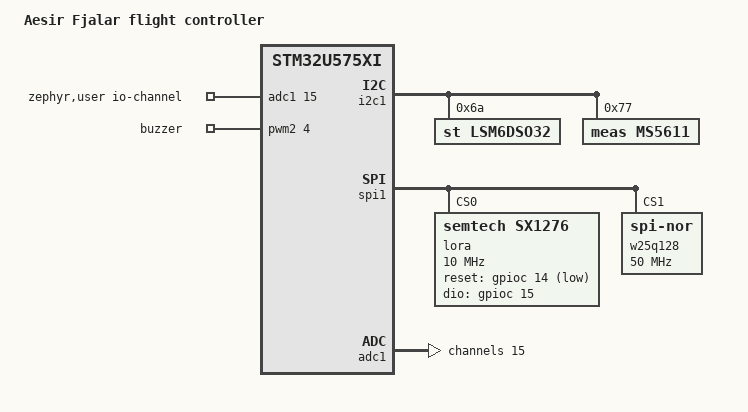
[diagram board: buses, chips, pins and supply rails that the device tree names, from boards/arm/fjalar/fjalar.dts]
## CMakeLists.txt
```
cmake_minimum_required(VERSION 3.20.0)

set(BOARD_ROOT ${CMAKE_CURRENT_LIST_DIR})


if(TEST_BUILD)
    set(EXTRA_CONF_FILE ${CMAKE_CURRENT_LIST_DIR}/testing/preferences.conf)
else()
    set(EXTRA_CONF_FILE ${CMAKE_CURRENT_LIST_DIR}/preferences.conf)
endif()

list(APPEND EXTRA_ZEPHYR_MODULES
    ${CMAKE_CURRENT_SOURCE_DIR}/modules/dummysensor
    ${CMAKE_CURRENT_SOURCE_DIR}/modules/ms5611
)

find_package(Zephyr REQUIRED HINTS $ENV{ZEPHYR_BASE})

project(fjalar)

add_subdirectory(../common ../build/common)

add_subdirectory(lib)

# main
target_sources(app PRIVATE
    src/flight_state.c
    src/sensors.c
    src/communication.c
    src/commands.c
    src/actuation.c
    src/filter.c
    src/hello.cpp
)

if(TEST_BUILD)
    message(STATUS "Building test")
    target_sources(app PRIVATE
        testing/test_main.c
    )
else()
    message(STATUS "Building app")
    target_sources(app PRIVATE
        src/main.c
    )
endif()


target_link_libraries(app PRIVATE protocol)
target_link_libraries(app PRIVATE minmea)
```

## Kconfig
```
menu "Zephyr"
source "Kconfig.zephyr"
endmenu

rsource "../common/Kconfig"


config BUZZER_ENABLED
    bool "Enable buzzer"
    default y
config DELAYED_START
    bool "delay start"
    default n

choice
	prompt "Boot state"
	config BOOT_STATE_IDLE
		bool "boot to idle"
	config BOOT_STATE_LAUNCHPAD
		bool "boot to launchpad"
endchoice

config APP_ACTUATION_LOG_LEVEL
    int "Application log level"
    default 2
    depends on LOG

config APP_FILTER_LOG_LEVEL
    int "Application filter log level"
    default 2
    depends on LOG

config APP_FLIGHT_LOG_LEVEL
    int "Application flight state log level"
    default 2
    depends on LOG

config APP_MAIN_LOG_LEVEL
    int "Application filter log level"
    default 2
    depends on LOG
config APP_SENSORS_LOG_LEVEL
    int "Application filter log level"
    default 2
    depends on LOG
config APP_COMMANDS_LOG_LEVEL
    int "Application filter log level"
    default 2
    depends on LOG
config APP_COMMUNICATION_LOG_LEVEL
    int "Application filter log level"
    default 2
    depends on LOG


# config USB_CDC_ACM_LOG_LEVEL
#     int
#     default 0 if USB_CDC_ACM_LOG_LEVEL_OFF
#     default 1 if USB_CDC_ACM_LOG_LEVEL_ERR
#     default 2 if USB_CDC_ACM_LOG_LEVEL_WRN
#     default 3 if USB_CDC_ACM_LOG_LEVEL_INF
#     default 4 if USB_CDC_ACM_LOG_LEVEL_DBG
#     depends on LOG
```

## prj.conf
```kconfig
# CONFIG_THREAD_ANALYZER=y
# CONFIG_THREAD_ANALYZER_USE_PRINTK=y
# CONFIG_THREAD_NAME=y
# CONFIG_THREAD_ANALYZER_AUTO=y
# CONFIG_THREAD_ANALYZER_AUTO_INTERVAL=5

CONFIG_LOG=y
CONFIG_LOG_MODE_DEFERRED=y
CONFIG_LOG_BUFFER_SIZE=4096

CONFIG_ZSL=y
CONFIG_ZSL_SINGLE_PRECISION=y
CONFIG_ZSL_VECTOR_INLINE=y
CONFIG_ZSL_MATRIX_INLINE=y

CONFIG_DEBUG=y
CONFIG_DEBUG_OPTIMIZATIONS=y

CONFIG_ISR_STACK_SIZE=4096

CONFIG_ZBUS=y
CONFIG_ZBUS_MSG_SUBSCRIBER=y

# I do not like heaps but idk
CONFIG_ZBUS_MSG_SUBSCRIBER_BUF_ALLOC_STATIC=y
CONFIG_ZBUS_MSG_SUBSCRIBER_NET_BUF_POOL_SIZE=32
CONFIG_ZBUS_MSG_SUBSCRIBER_NET_BUF_STATIC_DATA_SIZE=128

CONFIG_CRC=y

CONFIG_CPP=y

CONFIG_REQUIRES_FULL_LIBCPP=y

CONFIG_COMPILER_OPT="-Wno-double-promotion"
```

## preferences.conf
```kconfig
CONFIG_BUZZER_ENABLED=n

CONFIG_PROTOCOL_LOG_LEVEL=3
CONFIG_MINMEA_LOG_LEVEL=3
CONFIG_APP_ACTUATION_LOG_LEVEL=3
CONFIG_APP_FILTER_LOG_LEVEL=1
CONFIG_APP_FLIGHT_LOG_LEVEL=3
CONFIG_APP_MAIN_LOG_LEVEL=3
CONFIG_APP_SENSORS_LOG_LEVEL=3
CONFIG_APP_COMMUNICATION_LOG_LEVEL=3
CONFIG_APP_COMMANDS_LOG_LEVEL=3

CONFIG_DUMMYSENSOR_SKYWARD=y
# CONFIG_DUMMYSENSOR_PICCARD=y
# CONFIG_DUMMYSENSOR_ICLR=y
```

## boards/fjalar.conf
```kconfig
CONFIG_LOG=y
CONFIG_CBPRINTF_FP_SUPPORT=y

CONFIG_FPU=y
CONFIG_FPU_SHARING=y

CONFIG_SERIAL=y
# CONFIG_UART_INTERRUPT_DRIVEN=y
CONFIG_UART_WIDE_DATA=y
CONFIG_CONSOLE=y
CONFIG_UART_CONSOLE=y
CONFIG_POLL=y

CONFIG_I2C=y

CONFIG_GPIO=y

CONFIG_ADC=y

CONFIG_SENSOR=y
CONFIG_MS5611=y
# CONFIG_MS5607=y
# CONFIG_MS5607_PRES_OVER_2048X=y
# CONFIG_MS5607_TEMP_OVER_2048X=y

CONFIG_LSM6DSO=y

CONFIG_SPI=y
CONFIG_FLASH=y

CONFIG_PWM=y
CONFIG_LED=y

CONFIG_LORA=y
CONFIG_LORA_SX127X=y
CONFIG_LORA_LOG_LEVEL_DBG=y

CONFIG_NEWLIB_LIBC=y # for trigonometric functions

CONFIG_BOOT_STATE_IDLE=y
CONFIG_DELAYED_START=y

CONFIG_SENSOR=y

CONFIG_USB_DEVICE_STACK=y
CONFIG_USB_DEVICE_PRODUCT="Fjalar Log"
CONFIG_USB_DEVICE_PID=0x0004
CONFIG_USB_DEVICE_INITIALIZE_AT_BOOT=y
```

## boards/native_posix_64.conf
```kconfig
CONFIG_LOG=y
CONFIG_CBPRINTF_FP_SUPPORT=y

CONFIG_SERIAL=y
CONFIG_CONSOLE=y
CONFIG_UART_CONSOLE=y

CONFIG_I2C=y

CONFIG_SENSOR=y

CONFIG_SPI=y
# CONFIG_FLASH=y

CONFIG_DUMMYSENSOR=y
CONFIG_DUMMYSENSOR_SKYWARD=y
# CONFIG_DUMMYSENSOR_PICCARD=y
# CONFIG_DUMMYSENSOR_ICLR=y

# CONFIG_PWM=y

CONFIG_UART_NATIVE_POSIX=y
CONFIG_UART_NATIVE_POSIX_PORT_1_ENABLE=y
# CONFIG_NATIVE_UART_1_ON_OWN_PTY=y

# CONFIG_NATIVE_UART_0_ON_OWN_PTY=y
CONFIG_NATIVE_UART_0_ON_STDINOUT=y
CONFIG_SYS_CLOCK_TICKS_PER_SEC=1000

CONFIG_DEBUG=y
CONFIG_DEBUG_OPTIMIZATIONS=y

CONFIG_BOOT_STATE_LAUNCHPAD=y
# CONFIG_FUSE_FS_ACCESS=y

CONFIG_DELAYED_START=n
```

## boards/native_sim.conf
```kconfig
CONFIG_LOG=y
CONFIG_CBPRINTF_FP_SUPPORT=y

CONFIG_SERIAL=y
CONFIG_CONSOLE=y
CONFIG_UART_CONSOLE=y
CONFIG_POLL=y

CONFIG_GPIO=y

CONFIG_I2C=y

CONFIG_SENSOR=y

CONFIG_SPI=y
CONFIG_FLASH=y

CONFIG_DUMMYSENSOR=y

# CONFIG_PWM=y

CONFIG_UART_NATIVE_POSIX=y
CONFIG_UART_NATIVE_POSIX_PORT_1_ENABLE=y
# CONFIG_NATIVE_UART_1_ON_OWN_PTY=y

# CONFIG_NATIVE_UART_0_ON_OWN_PTY=y
# CONFIG_NATIVE_UART_0_ON_STDINOUT=y
CONFIG_SYS_CLOCK_TICKS_PER_SEC=1000

CONFIG_DEBUG=y
CONFIG_DEBUG_OPTIMIZATIONS=y

CONFIG_BOOT_STATE_LAUNCHPAD=y
# CONFIG_FUSE_FS_ACCESS=y

CONFIG_DELAYED_START=n

CONFIG_USB_DEVICE_STACK=y
CONFIG_USB_DEVICE_PRODUCT="Fjalar Log"
CONFIG_USB_DEVICE_PID=0x0004

CONFIG_FLASH_SIMULATOR=y

CONFIG_ASAN=y
CONFIG_UBSAN=y
```

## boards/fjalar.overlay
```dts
/ {
    chosen {
        // zephyr,console = &cdc_acm_uart0;
        // zephyr,shell = &cdc_acm_uart0;
    };

    aliases {
		io-led = &ioled;
        imu = &lsm6dso32;
        barometer = &ms5611;
		main-usb = &usbotg_fs;
		pyro1 = &pyro1;
		pyro2 = &pyro2;
		pyro3 = &pyro3;
		pyro1-sense = &pyro1_sense;
		pyro2-sense = &pyro2_sense;
		pyro3-sense = &pyro3_sense;
        // data-usb = &cdc_acm_uart1;
    };

    dummysensor: dummysensor {
        compatible = "aesir,dummysensor";
        status = "okay";
    };
};


&lsm6dso32 {
    gyro-odr = <4>; //104Hz
    accel-odr = <4>; //104Hz
    accel-range = <1>; //16g
    gyro-range = <6>; //2000dps
    accel-pm = <0>; //high performance
    gyro-pm = <0>; //high performance
};


// &usbotg_fs {
//     cdc_acm_uart0: cdc_acm_uart0 {
//         compatible = "zephyr,cdc-acm-uart";
//     };
//     cdc_acm_uart1: cdc_acm_uart1 {
//         compatible = "zephyr,cdc-acm-uart";
//     };
// };
```

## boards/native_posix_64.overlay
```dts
/ {
    chosen {
        // zephyr,console = &uart0;
		// zephyr,shell-uart = &uart0;
    };
    aliases {
        imu = &dummysensor;
        barometer = &dummysensor;
        external-uart = &uart1;
        io-led = &ioled;
        main-usb = &zephyr_udc0;
        pyro1 = &pyro1;
        pyro2 = &pyro2;
        pyro3 = &pyro3;
        pyro1-sense = &pyro1_sense;
        pyro2-sense = &pyro2_sense;
        pyro3-sense = &pyro3_sense;
    };

    dummysensor: dummysensor {
        compatible = "aesir,dummysensor";
        status = "okay";
    };

    leds {
		compatible = "gpio-leds";
		ioled: io_led {
			gpios = <&gpio0 6 GPIO_ACTIVE_HIGH>;
		};
	};

    pyros {
        compatible = "gpio-leds";
        pyro1: pyro_1 {
            gpios = <&gpio0 13 GPIO_ACTIVE_HIGH>;
        };
        pyro2: pyro_2 {
            gpios = <&gpio0 12 GPIO_ACTIVE_HIGH>;
        };
        pyro3: pyro_3 {
            gpios = <&gpio0 2 GPIO_ACTIVE_HIGH>;
        };
    };

	pyro_sense {
		compatible = "gpio-keys";
		pyro1_sense: pyro1_sense {
			gpios = <&gpio0 8 GPIO_ACTIVE_LOW>;
		};
		pyro2_sense: pyro2_sense {
			gpios = <&gpio0 15 GPIO_ACTIVE_LOW>;
		};
		pyro3_sense: pyro3_sense {
			gpios = <&gpio0 2 GPIO_ACTIVE_LOW>;
		};
	};
};
```

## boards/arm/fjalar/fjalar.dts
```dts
/dts-v1/;

#include <st/u5/stm32u575Xi.dtsi>
#include <st/u5/stm32u575zitxq-pinctrl.dtsi>
#include "fjalar.dtsi"

/ {

    model = "Aesir Fjalar flight controller";
	compatible = "aesir,fjalar";

	#address-cells = <1>;
	#size-cells = <1>;

	chosen {
		zephyr,console = &uart4;
		zephyr,shell-uart = &uart4;
		zephyr,sram = &sram0;
		zephyr,flash = &flash0;
		zephyr,canbus = &can1;
	};

    aliases {
		led0 = &ioled;
		external-uart = &uart4;
		data-flash = &w25q128;
		gps-uart = &usart1;
		buzzer = &buzzer;
		lora = &lora;

	};

	zephyr,user {
		battery-denominator = <2200>;
		battery-numerator = <12200>;
		io-channels = <&adc1 15>;
	};

	pwmleds: pwmleds {
		compatible = "pwm-leds";
		status = "okay";

		buzzer: buzzer {
			pwms = <&pwm2 4 PWM_MSEC(20) PWM_POLARITY_NORMAL>;
		};
	};
};

&i2c1 {
	lsm6dso32: lsm6dso32@6a {
		status = "okay";
		compatible = "st,lsm6dso32", "st,lsm6dso";
		reg = <0x6a>;
	};

	ms5611: ms5611@77 {
		status = "okay";
		compatible = "meas,ms5611";
		reg = <0x77>;
	};
};

&spi1 {
	lora: lora@0 {
		compatible ="semtech,sx1276";
		reg = <0>;
		spi-max-frequency = <10000000>;
		status = "okay";
		reset-gpios = <&gpioc 14 GPIO_ACTIVE_LOW>;
		dio-gpios = <&gpioc 15 GPIO_ACTIVE_HIGH>;
		power-amplifier-output = "pa-boost";
	};

	w25q128: w25q128@1 {
		compatible ="jedec,spi-nor";
		size = <0x8000000>;
		reg = <1>;
		spi-max-frequency = <50000000>;
		status = "okay";
		jedec-id = [ef 70 18];
	};
};

&adc1 {
	#address-cells = <1>;
	#size-cells = <0>;
	status = "okay";

	channel@F {
		reg = <15>; //15
		zephyr,gain = "ADC_GAIN_1";
		zephyr,reference = "ADC_REF_INTERNAL";
		zephyr,acquisition-time = <ADC_ACQ_TIME_DEFAULT>;
		zephyr,resolution = <14>;
		zephyr,oversampling = <4>;
		status = "okay";
	};
};
```

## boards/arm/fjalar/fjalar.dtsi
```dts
#include <st/u5/stm32u575Xi.dtsi>
#include <st/u5/stm32u575zitxq-pinctrl.dtsi>

/ {
	leds {
		compatible = "gpio-leds";
		ioled: io_led {
			gpios = <&gpioa 6 GPIO_ACTIVE_HIGH>;
		};
	};

    pyros {
        compatible = "gpio-leds";
        pyro1: pyro_1 {
            gpios = <&gpiob 2 GPIO_ACTIVE_HIGH>;
        };
        pyro2: pyro_2 {
            gpios = <&gpiob 12 GPIO_ACTIVE_HIGH>;
        };
        pyro3: pyro_3 {
            gpios = <&gpiob 13 GPIO_ACTIVE_HIGH>;
        };
    };

	pyro_sense {
		compatible = "gpio-keys";
		pyro1_sense: pyro1_sense {
			gpios = <&gpioa 2 GPIO_ACTIVE_LOW>;
		};
		pyro2_sense: pyro2_sense {
			gpios = <&gpiob 15 GPIO_ACTIVE_LOW>;
		};
		pyro3_sense: pyro3_sense {
			gpios = <&gpioa 8 GPIO_ACTIVE_LOW>;
		};
	};
};

&usbotg_fs {
	pinctrl-0 = <&usb_otg_fs_dm_pa11 &usb_otg_fs_dp_pa12>;
	pinctrl-names = "default";
	status = "okay";
};

&usart1 {
	pinctrl-0 = <&usart1_tx_pa9 &usart1_rx_pa10>;
	pinctrl-names = "default";
	current-speed = <9600>;
	status = "okay";
	gnss: gnss-nmea-generic {
			compatible = "gnss-nmea-generic";
	};
	gnss_pps: gnss-pss {
		compatible = "gnss-pps";
	};
};

&gpdma1 {
	status = "okay";
};

// &clk_hsi48 {
// 	status = "okay";
// };

// &clk_hse {
// 	status = "okay";
// 	clock-frequency = <DT_FREQ_M(48)>;
// };

// &clk_msis {
// 	status = "okay";
// 	msi-range = <4>;
// 	msi-pll-mode;
// };

&pll1 {
	div-m = <3>;
	mul-n = <10>;
	div-q = <2>;
	div-r = <1>;
	clocks = <&clk_hse>;
	status = "okay";
};

&rcc {
	clocks = <&pll1>;
	clock-frequency = <DT_FREQ_M(160)>;
	ahb-prescaler = <1>;
	apb1-prescaler = <1>;
	apb2-prescaler = <1>;
	apb3-prescaler = <1>;
};

&clk_hsi48 {
	status = "okay";
};

&clk_lse {
	status = "okay";
};

&clk_msis {
	status = "okay";
	msi-range = <4>;
	msi-pll-mode;
};

// &pll1 {
// 	div-m = <1>;
// 	mul-n = <80>;
// 	div-q = <2>;
// 	div-r = <2>;
// 	clocks = <&clk_msis>;
// 	status = "okay";
// };

// &rcc {
// 	clocks = <&pll1>;
// 	clock-frequency = <DT_FREQ_M(160)>;
// 	ahb-prescaler = <1>;
// 	apb1-prescaler = <1>;
// 	apb2-prescaler = <1>;
// 	apb3-prescaler = <1>;
// };

&uart4 {
    pinctrl-0 = <&uart4_tx_pa0 &uart4_rx_pa1>;
	pinctrl-names = "default";
	current-speed = <115200>;
	status = "okay";
};

&i2c1 {
	pinctrl-0 = <&i2c1_scl_pb6 &i2c1_sda_pb7>;
	pinctrl-names = "default";
	status = "okay";
	clock-frequency = <I2C_BITRATE_FAST>;
};

&i2c2 {
	pinctrl-0 = <&i2c2_scl_pb10 &i2c2_sda_pb14>;
	pinctrl-names = "default";
	status = "okay";
	clock-frequency = <I2C_BITRATE_FAST>;
};

&spi1 {
	pinctrl-0 = <&spi1_sck_pb3
			&spi1_miso_pb4 &spi1_mosi_pb5>;
	pinctrl-names = "default";
	cs-gpios = <&gpioc 13 GPIO_ACTIVE_LOW>, <&gpioa 15 GPIO_ACTIVE_LOW>;
	clock-frequency = <50000000>;
	status = "okay";
};

&adc1 {
	pinctrl-0 = <&adc1_in15_pb0>;
	pinctrl-names = "default";
};

&timers2 {
	st,prescaler = <1000>;
	status = "okay";

	pwm2: pwm {
		status = "okay";
		pinctrl-0 = <&tim2_ch4_pa3>;
		pinctrl-names = "default";
	};
};

&iwdg {
	status = "okay";
};

&rng {
	status = "okay";
};

&fdcan1 {
	clocks = <&rcc STM32_CLOCK_BUS_APB1_2 0x00000200>,
		 <&rcc STM32_SRC_PLL1_Q FDCAN1_SEL(1)>;
	pinctrl-0 = <&fdcan1_rx_pb8 &fdcan1_tx_pb9>;
	pinctrl-names = "default";
	bus-speed = <125000>;
	bus-speed-data = <1000000>;
	status = "okay";
};
```

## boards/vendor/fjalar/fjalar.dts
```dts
/dts-v1/;

#include <st/u5/stm32u575Xi.dtsi>
#include <st/u5/stm32u575zitxq-pinctrl.dtsi>
#include "fjalar.dtsi"

/ {

    model = "Aesir Fjalar flight controller";
	compatible = "aesir,fjalar";

	#address-cells = <1>;
	#size-cells = <1>;

	chosen {
		zephyr,console = &uart4;
		zephyr,shell-uart = &uart4;
		zephyr,sram = &sram0;
		zephyr,flash = &flash0;
		zephyr,canbus = &fdcan1;
	};

    aliases {
		led0 = &ioled;
		external-uart = &uart4;
		data-flash = &w25q128;
		gps-uart = &usart1;
		buzzer = &buzzer;
		lora = &lora;

	};

	zephyr,user {
		battery-denominator = <2200>;
		battery-numerator = <12200>;
		io-channels = <&adc1 15>;
	};

	pwmleds: pwmleds {
		compatible = "pwm-leds";
		status = "okay";

		buzzer: buzzer {
			pwms = <&pwm2 4 PWM_MSEC(20) PWM_POLARITY_NORMAL>;
		};
	};
};

&i2c1 {
	lsm6dso32: lsm6dso32@6a {
		status = "okay";
		compatible = "st,lsm6dso32";
		reg = <0x6a>;
	};

	ms5611: ms5611@77 {
		status = "okay";
		compatible = "meas,ms5611";
		reg = <0x77>;
	};
};

&spi1 {
	lora: lora@0 {
		compatible ="semtech,sx1276";
		reg = <0>;
		spi-max-frequency = <10000000>;
		status = "okay";
		reset-gpios = <&gpioc 14 GPIO_ACTIVE_LOW>;
		dio-gpios = <&gpioc 15 GPIO_ACTIVE_HIGH>;
		power-amplifier-output = "pa-boost";
	};

	w25q128: w25q128@1 {
		compatible ="jedec,spi-nor";
		size = <0x8000000>;
		reg = <1>;
		spi-max-frequency = <50000000>;
		status = "okay";
		jedec-id = [ef 70 18];
	};
};

&adc1 {
	#address-cells = <1>;
	#size-cells = <0>;
	status = "okay";
	st,adc-prescaler = <1>;

	channel@F {
		reg = <15>; //15
		zephyr,gain = "ADC_GAIN_1";
		zephyr,reference = "ADC_REF_INTERNAL";
		zephyr,acquisition-time = <ADC_ACQ_TIME_DEFAULT>;
		zephyr,resolution = <14>;
		zephyr,oversampling = <4>;
		status = "okay";
	};
};
```

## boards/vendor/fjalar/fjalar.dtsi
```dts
#include <st/u5/stm32u575Xi.dtsi>
#include <st/u5/stm32u575zitxq-pinctrl.dtsi>

/ {
	leds {
		compatible = "gpio-leds";
		ioled: io_led {
			gpios = <&gpioa 6 GPIO_ACTIVE_HIGH>;
		};
	};

    pyros {
        compatible = "gpio-leds";
        pyro1: pyro_1 {
            gpios = <&gpiob 2 GPIO_ACTIVE_HIGH>;
        };
        pyro2: pyro_2 {
            gpios = <&gpiob 12 GPIO_ACTIVE_HIGH>;
        };
        pyro3: pyro_3 {
            gpios = <&gpiob 13 GPIO_ACTIVE_HIGH>;
        };
    };

	pyro_sense {
		compatible = "gpio-keys";
		pyro1_sense: pyro1_sense {
			gpios = <&gpioa 2 GPIO_ACTIVE_LOW>;
		};
		pyro2_sense: pyro2_sense {
			gpios = <&gpiob 15 GPIO_ACTIVE_LOW>;
		};
		pyro3_sense: pyro3_sense {
			gpios = <&gpioa 8 GPIO_ACTIVE_LOW>;
		};
	};
};

&usbotg_fs {
	pinctrl-0 = <&usb_otg_fs_dm_pa11 &usb_otg_fs_dp_pa12>;
	pinctrl-names = "default";
	status = "okay";
};

&usart1 {
	pinctrl-0 = <&usart1_tx_pa9 &usart1_rx_pa10>;
	pinctrl-names = "default";
	current-speed = <9600>;
	status = "okay";
};

&gpdma1 {
	status = "okay";
};

&clk_hse {
	status = "okay";
	clock-frequency = <DT_FREQ_M(48)>;
};

&clk_hsi48 {
	status = "okay";
};

&clk_lse {
	status = "disabled";
};

&clk_msis {
	status = "okay";
	msi-range = <4>;
	msi-pll-mode;
};

&pll1 {
	div-m = <3>;
	mul-n = <10>;
	div-r = <1>;
	div-q = <2>;
	clocks = <&clk_hse>;
	status = "okay";
};

&rcc {
	clocks = <&pll1>;
	clock-frequency = <DT_FREQ_M(160)>;
	ahb-prescaler = <1>;
	apb1-prescaler = <1>;
	apb2-prescaler = <1>;
	apb3-prescaler = <1>;
};

&uart4 {
    pinctrl-0 = <&uart4_tx_pa0 &uart4_rx_pa1>;
	pinctrl-names = "default";
	current-speed = <115200>;
	status = "okay";
};

&i2c1 {
	pinctrl-0 = <&i2c1_scl_pb6 &i2c1_sda_pb7>;
	pinctrl-names = "default";
	status = "okay";
	clock-frequency = <I2C_BITRATE_FAST>;
};

&i2c2 {
	pinctrl-0 = <&i2c2_scl_pb10 &i2c2_sda_pb14>;
	pinctrl-names = "default";
	status = "okay";
	clock-frequency = <I2C_BITRATE_FAST>;
};

&spi1 {
	pinctrl-0 = <&spi1_sck_pb3
			&spi1_miso_pb4 &spi1_mosi_pb5>;
	pinctrl-names = "default";
	cs-gpios = <&gpioc 13 GPIO_ACTIVE_LOW>, <&gpioa 15 GPIO_ACTIVE_LOW>;
	clock-frequency = <50000000>;
	status = "okay";
};

&adc1 {
	pinctrl-0 = <&adc1_in15_pb0>;
	pinctrl-names = "default";
};

&timers2 {
	st,prescaler = <1000>;
	status = "okay";

	pwm2: pwm {
		status = "okay";
		pinctrl-0 = <&tim2_ch4_pa3>;
		pinctrl-names = "default";
	};
};

&iwdg {
	status = "okay";
};

&rng {
	status = "okay";
};

&fdcan1 {
	clocks = <&rcc STM32_CLOCK_BUS_APB1_2 0x00000200>,
		 <&rcc STM32_SRC_PLL1_Q FDCAN1_SEL(1)>;
	pinctrl-0 = <&fdcan1_rx_pb8 &fdcan1_tx_pb9>;
	pinctrl-names = "default";
	status = "okay";
};
```

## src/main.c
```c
/*
 * Copyright (c) 2012-2014 Wind River Systems, Inc.
 *
 * SPDX-License-Identifier: Apache-2.0
 */

#include <zephyr/kernel.h>
#include <zephyr/drivers/gpio.h>
#include <zephyr/drivers/uart.h>
#include <zephyr/logging/log.h>
#include <zephyr/drivers/sensor.h>
#include <stdio.h>
#include <math.h>

#include "fjalar.h"
#include "sensors.h"
#include "flight_state.h"
#include "communication.h"
#include "actuation.h"
#include "hello.h"

LOG_MODULE_REGISTER(main, CONFIG_APP_MAIN_LOG_LEVEL);

fjalar_t fjalar_god;

int main(void) {
	#ifdef CONFIG_DELAYED_START
	const int delay = 5;
	for (int i = 0; i < delay; i++) {
		printk("%d\n", delay - i);
		k_msleep(1000);
	}
	#endif
	printk("Started\n");
	fjalar_god.sudo = false;
	uint8_t cpp_buf[64];
	hello_from_cpp(cpp_buf, sizeof(cpp_buf));
	printk("%s", cpp_buf);
	init_sensors(&fjalar_god);
	init_flight_state(&fjalar_god);
	init_communication(&fjalar_god);
	init_actuation(&fjalar_god);
	return 0;
}
```

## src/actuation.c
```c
#include <zephyr/kernel.h>
#include <zephyr/logging/log.h>
#include <zephyr/drivers/gpio.h>
#include <zephyr/drivers/pwm.h>
#include <math.h>
#include <stdlib.h>

#include "fjalar.h"
#include "melodies.h"

LOG_MODULE_REGISTER(actuation, CONFIG_APP_ACTUATION_LOG_LEVEL);

#define LED_THREAD_PRIORITY 7
#define LED_THREAD_STACK_SIZE 2048

#define BUZZER_THREAD_PRIORITY 7
#define BUZZER_THREAD_STACK_SIZE 2048

#define PYRO_THREAD_PRIORITY 7
#define PYRO_THREAD_STACK_SIZE 2048

K_THREAD_STACK_DEFINE(led_thread_stack, LED_THREAD_STACK_SIZE);
struct k_thread led_thread_data;
k_tid_t led_thread_id;
void led_thread(fjalar_t *fjalar, void *, void *);

K_THREAD_STACK_DEFINE(buzzer_thread_stack, BUZZER_THREAD_STACK_SIZE);
struct k_thread buzzer_thread_data;
k_tid_t buzzer_thread_id;
void buzzer_thread(fjalar_t *fjalar, void *, void *);

K_THREAD_STACK_DEFINE(pyro_thread_stack, PYRO_THREAD_STACK_SIZE);
struct k_thread pyro_thread_data;
k_tid_t pyro_thread_id;
void pyro_thread(fjalar_t *fjalar, void *, void *);

void init_actuation(fjalar_t *fjalar) {
    led_thread_id = k_thread_create(
		&led_thread_data,
		led_thread_stack,
		K_THREAD_STACK_SIZEOF(led_thread_stack),
		(k_thread_entry_t) led_thread,
		fjalar, NULL, NULL,
		LED_THREAD_PRIORITY, 0, K_NO_WAIT
	);
	k_thread_name_set(led_thread_id, "led");

    pyro_thread_id = k_thread_create(
		&pyro_thread_data,
		pyro_thread_stack,
		K_THREAD_STACK_SIZEOF(pyro_thread_stack),
		(k_thread_entry_t) pyro_thread,
		fjalar, NULL, NULL,
		PYRO_THREAD_PRIORITY, 0, K_NO_WAIT
	);
	k_thread_name_set(pyro_thread_id, "pyro");

	#if DT_ALIAS_EXISTS(buzzer)
    buzzer_thread_id = k_thread_create(
		&buzzer_thread_data,
		buzzer_thread_stack,
		K_THREAD_STACK_SIZEOF(buzzer_thread_stack),
		(k_thread_entry_t) buzzer_thread,
		fjalar, NULL, NULL,
		BUZZER_THREAD_PRIORITY, 0, K_NO_WAIT
	);
	k_thread_name_set(buzzer_thread_id, "buzzer");
	#endif
}

void led_thread(fjalar_t *fjalar, void *p2, void *p3) {
    const struct gpio_dt_spec io_led_dt = GPIO_DT_SPEC_GET(DT_ALIAS(io_led), gpios);
    int ret = 0;
    ret |= gpio_pin_configure_dt(&io_led_dt, GPIO_OUTPUT_ACTIVE);
    if (ret) {
        LOG_ERR("Could not configure the IO-led");
    }

    while (true) {
        gpio_pin_toggle_dt(&io_led_dt);
        k_msleep(1000);
    }
}

void set_pyro(fjalar_t *fjalar, int pyro, bool state) {
    switch (pyro) {
        case 1:
            const struct gpio_dt_spec pyro1_dt = GPIO_DT_SPEC_GET(DT_ALIAS(pyro1), gpios);
            gpio_pin_set_dt(&pyro1_dt, state);
            break;

        case 2:
            const struct gpio_dt_spec pyro2_dt = GPIO_DT_SPEC_GET(DT_ALIAS(pyro2), gpios);
            gpio_pin_set_dt(&pyro2_dt, state);
            break;

        case 3:
            const struct gpio_dt_spec pyro3_dt = GPIO_DT_SPEC_GET(DT_ALIAS(pyro3), gpios);
            gpio_pin_set_dt(&pyro3_dt, state);
            break;
        default:
            LOG_ERR("tried to enable invalid pyro %d", pyro);
    }
}

void pyro_thread(fjalar_t *fjalar, void *p2, void *p3) {
    const struct gpio_dt_spec pyro1_dt = GPIO_DT_SPEC_GET(DT_ALIAS(pyro1), gpios);
    const struct gpio_dt_spec pyro2_dt = GPIO_DT_SPEC_GET(DT_ALIAS(pyro2), gpios);
    const struct gpio_dt_spec pyro3_dt = GPIO_DT_SPEC_GET(DT_ALIAS(pyro3), gpios);
    const struct gpio_dt_spec pyro1_sense_dt = GPIO_DT_SPEC_GET(DT_ALIAS(pyro1_sense), gpios);
    const struct gpio_dt_spec pyro2_sense_dt = GPIO_DT_SPEC_GET(DT_ALIAS(pyro2_sense), gpios);
    const struct gpio_dt_spec pyro3_sense_dt = GPIO_DT_SPEC_GET(DT_ALIAS(pyro3_sense), gpios);

    int ret = 0;
    ret |= gpio_pin_set_dt(&pyro1_dt, 0);
    ret |= gpio_pin_set_dt(&pyro2_dt, 0);
    ret |= gpio_pin_set_dt(&pyro3_dt, 0);
    ret |= gpio_pin_configure_dt(&pyro1_dt, GPIO_OUTPUT_ACTIVE);
    ret |= gpio_pin_configure_dt(&pyro2_dt, GPIO_OUTPUT_ACTIVE);
    ret |= gpio_pin_configure_dt(&pyro3_dt, GPIO_OUTPUT_ACTIVE);
    ret |= gpio_pin_set_dt(&pyro1_dt, 0);
    ret |= gpio_pin_set_dt(&pyro2_dt, 0);
    ret |= gpio_pin_set_dt(&pyro3_dt, 0);

    ret |= gpio_pin_configure_dt(&pyro1_sense_dt, GPIO_INPUT);
    ret |= gpio_pin_configure_dt(&pyro2_sense_dt, GPIO_INPUT);
    ret |= gpio_pin_configure_dt(&pyro3_sense_dt, GPIO_INPUT);
    if (ret) {
        LOG_ERR("Could not configure pyro pins");
    }


    while (true) {
        fjalar->pyro1_sense = gpio_pin_get_dt(&pyro1_sense_dt);
        fjalar->pyro2_sense = gpio_pin_get_dt(&pyro2_sense_dt);
        fjalar->pyro3_sense = gpio_pin_get_dt(&pyro3_sense_dt);
        LOG_INF("pyros connected p1:%d p2:%d p3:%d", fjalar->pyro1_sense, fjalar->pyro2_sense, fjalar->pyro3_sense);
        k_msleep(500);
    }
}


void play_song(const struct pwm_dt_spec *buzzer_dt, int melody[], int size, int tempo) {
        int notes=size/sizeof(melody[0])/2;
        int wholenote = (60000 * 4) / tempo;

        int divider = 0, noteDuration = 0;

        for (int thisNote = 0; thisNote < notes * 2; thisNote = thisNote + 2) {
            divider = melody[thisNote + 1];
            if (divider > 0) {
            noteDuration = (wholenote) / divider;
            } else if (divider < 0) {
            noteDuration = (wholenote) / abs(divider);
            noteDuration *= 1.5; // increases the duration in half for dotted notes
            }

            int period = 1e9 / melody[thisNote];
            pwm_set_dt(buzzer_dt, period, period / 2);
            k_msleep(noteDuration * 0.9);
            pwm_set_dt(buzzer_dt, period, 0);
            k_msleep(noteDuration * 0.1);
        }
        k_msleep(1000);
}

#if DT_ALIAS_EXISTS(buzzer)
void buzzer_thread(fjalar_t *fjalar, void *p2, void *p3) {
    #if !CONFIG_BUZZER_ENABLED
    LOG_INF("Buzzer disabled");
    return;
    #endif
    int err;
    const struct pwm_dt_spec buzzer_dt = PWM_DT_SPEC_GET(DT_ALIAS(buzzer));
    if (!device_is_ready(buzzer_dt.dev)) {
        LOG_ERR("buzzer is not ready");
        return;
    }

    uint32_t center_period = 1e9 / 2000;
    err = pwm_set_dt(&buzzer_dt, center_period, 0);
    if (err) {
        LOG_ERR("Could not set buzzer");
    }

    while (true) {
        if (fjalar->sudo) {
                play_song(&buzzer_dt, doom_melody, sizeof(doom_melody), doom_tempo);
                k_msleep(1000);
                continue;
        }
        switch (fjalar->flight_state) {
            case STATE_IDLE:
                play_song(&buzzer_dt, nokia_melody, sizeof(nokia_melody), nokia_tempo);
                k_msleep(1000);
                break;
            default:
                err = pwm_set_dt(&buzzer_dt, center_period, center_period / 2);
                k_msleep(100);
                err = pwm_set_dt(&buzzer_dt, center_period, 0);
                k_msleep(100);
                err = pwm_set_dt(&buzzer_dt, center_period, center_period / 2);
                k_msleep(100);
                err = pwm_set_dt(&buzzer_dt, center_period, 0);
                k_msleep(1500);
        }
    }
}
#endif
```

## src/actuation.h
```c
#pragma once

#include "fjalar.h"

void set_pyro(fjalar_t *fjalar, int pyro, bool state);

void init_actuation(fjalar_t *fjalar);
```

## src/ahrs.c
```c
void ahrs_
```

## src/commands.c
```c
#include <zephyr/kernel.h>
#include <zephyr/logging/log.h>
#include <protocol.h>

#include "commands.h"
#include "communication.h"
#include "fjalar.h"
#include "actuation.h"

LOG_MODULE_REGISTER(commands, CONFIG_APP_COMMANDS_LOG_LEVEL);

void handle_set_sudo(set_sudo_t *msg, fjalar_t *fjalar, enum com_channels channel);
void handle_ready_up(ready_up_t *msg, fjalar_t *fjalar, enum com_channels channel);
void handle_enter_idle(enter_idle_t *msg, fjalar_t *fjalar, enum com_channels channel);
void handle_trigger_pyro(trigger_pyro_t *msg, fjalar_t *fjalar, enum com_channels channel);
void handle_clear_flash(clear_flash_t *msg, fjalar_t *fjalar, enum com_channels channel);
void handle_read_flash(read_flash_t *msg, fjalar_t *fjalar, enum com_channels channel);

void handle_fjalar_buf(struct protocol_state *ps, fjalar_t *fjalar, uint8_t *buf, int len, enum com_channels channel) {
    fjalar_message_t msg;
    for (int i = 0; i < len; i++) {
        int ret;
        ret = parse_fjalar_message(ps, buf[i], &msg);
        if (ret == 1) {
            handle_fjalar_message(&msg, fjalar, channel);
        } else if (ret == -1) {
            reset_protocol_state(ps);
        }
    }
}

void handle_fjalar_message(fjalar_message_t *msg, fjalar_t *fjalar, enum com_channels channel) {
    LOG_INF("handling msg with id %d", msg->data.which_data);
    switch (msg->data.which_data) {
        case FJALAR_DATA_SET_SUDO_TAG:
            handle_set_sudo(&msg->data.data.set_sudo, fjalar, channel);
            break;

        case FJALAR_DATA_READY_UP_TAG:
            handle_ready_up(&msg->data.data.ready_up, fjalar, channel);
            break;

        case FJALAR_DATA_ENTER_IDLE_TAG:
            handle_enter_idle(&msg->data.data.enter_idle, fjalar, channel);
            break;

        case FJALAR_DATA_TRIGGER_PYRO_TAG:
            handle_trigger_pyro(&msg->data.data.trigger_pyro, fjalar, channel);
            break;

        case FJALAR_DATA_CLEAR_FLASH_TAG:
            handle_clear_flash(&msg->data.data.clear_flash, fjalar, channel);
            break;

        case FJALAR_DATA_READ_FLASH_TAG:
            handle_read_flash(&msg->data.data.read_flash, fjalar, channel);
            break;

        default:
            LOG_ERR("Unsupported message: %d", msg->data.which_data);
    }
}

void handle_set_sudo(set_sudo_t *msg, fjalar_t *fjalar, enum com_channels channel) {
    fjalar->sudo = msg->enabled;
    LOG_WRN("set sudo %d", msg->enabled);
}

void handle_ready_up(ready_up_t *msg, fjalar_t *fjalar, enum com_channels channel) {
    bool succesful;
    if (fjalar->sudo == true || fjalar->flight_state == STATE_IDLE) {
        fjalar->flight_state = STATE_LAUNCHPAD;
        succesful = true;
        LOG_INF("changing to ready");
    } else {
        succesful = false;
        LOG_INF("couldn't change to ready");
    }
}

void handle_enter_idle(enter_idle_t *msg, fjalar_t *fjalar, enum com_channels channel) {
    bool succesful;
    if (fjalar->sudo == true || fjalar->flight_state == STATE_LAUNCHPAD) {
        fjalar->flight_state = STATE_IDLE;
        succesful = true;
        LOG_INF("changing to idle");
    } else {
        succesful = false;
        LOG_INF("couldn't change to idle");
    }
}

void handle_trigger_pyro(trigger_pyro_t *msg, fjalar_t *fjalar, enum com_channels channel) {
    if (fjalar->sudo != true) {
        LOG_WRN("Tried to enable pyro %d when not in sudo mode", msg->pyro);
        return;
    }
    set_pyro(fjalar, msg->pyro, 1);
    k_msleep(500);
    set_pyro(fjalar, msg->pyro, 0);
}

void handle_clear_flash(clear_flash_t *msg, fjalar_t *fjalar, enum com_channels channel) {
    if (fjalar->sudo != true) {
        LOG_WRN("Tried to clear flash when not in sudo mode");
        return;
    }
    clear_flash(fjalar);
}

void handle_read_flash(read_flash_t *msg, fjalar_t *fjalar, enum com_channels channel) {
    struct fjalar_message resp;
    if (msg->length > sizeof(resp.data.data.flash_data.data.bytes)) {
        LOG_ERR("Requested flash read can't fit in buffer");
        return;
    }
    resp.has_data = true;
    resp.data.which_data = FJALAR_DATA_FLASH_DATA_TAG;
    resp.data.data.flash_data.data.size = msg->length;
    resp.data.data.flash_data.start_index = msg->start_index;
    resp.time = k_uptime_get_32();
    read_flash(fjalar, resp.data.data.flash_data.data.bytes, msg->start_index, msg->length);
    send_response(fjalar, &resp, channel);
}
```

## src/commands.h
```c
#pragma once

#include "fjalar.h"
#include <protocol.h>

void handle_fjalar_message(fjalar_message_t *msg, fjalar_t *fjalar, enum com_channels channel);
void handle_fjalar_buf(struct protocol_state *ps, fjalar_t *fjalar, uint8_t buf[], int len, enum com_channels channel);
```

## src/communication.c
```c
#include <zephyr/kernel.h>
#include <zephyr/logging/log.h>
#include <zephyr/drivers/flash.h>
#include <zephyr/drivers/uart.h>
#include <zephyr/console/tty.h>
#include <zephyr/drivers/lora.h>
#include <zephyr/drivers/gpio.h>

#include <protocol.h>

#include "fjalar.h"
#include "commands.h"
#include "communication.h"

LOG_MODULE_REGISTER(communication, CONFIG_APP_COMMUNICATION_LOG_LEVEL);

#define LORA_THREAD_PRIORITY 7
#define LORA_THREAD_STACK_SIZE 2048

#define FLASH_THREAD_PRIORITY 7
#define FLASH_THREAD_STACK_SIZE 2048

#define UART_THREAD_PRIORITY 7
#define UART_THREAD_STACK_SIZE 2048

#define USB_THREAD_PRIORITY 7
#define USB_THREAD_STACK_SIZE 2048

#define SAMPLER_THREAD_PRIORITY 7
#define SAMPLER_THREAD_STACK_SIZE 2048

#define LORA_TRANSMIT true
#define LORA_RECEIVE false

volatile bool terminate_communication = false;

K_THREAD_STACK_DEFINE(sampler_thread_stack, SAMPLER_THREAD_STACK_SIZE);
struct k_thread sampler_thread_data;
k_tid_t sampler_thread_id;
void sampler_thread(fjalar_t *fjalar, void *p2, void *p3);

#if DT_ALIAS_EXISTS(lora)
K_THREAD_STACK_DEFINE(lora_thread_stack, LORA_THREAD_STACK_SIZE);
struct k_thread lora_thread_data;
k_tid_t lora_thread_id;
void lora_thread(fjalar_t *fjalar, void *p2, void *p3);
#endif

#if DT_ALIAS_EXISTS(external_uart)
K_THREAD_STACK_DEFINE(uart_thread_stack, UART_THREAD_STACK_SIZE);
struct k_thread uart_thread_data;
k_tid_t uart_thread_id;
void uart_thread(fjalar_t *fjalar, void *p2, void *p3);
#endif

#if DT_ALIAS_EXISTS(data_usb)
K_THREAD_STACK_DEFINE(usb_thread_stack, USB_THREAD_STACK_SIZE);
struct k_thread usb_thread_data;
k_tid_t usb_thread_id;
void usb_thread(fjalar_t *fjalar, void *p2, void *p3);
#endif

K_MUTEX_DEFINE(flash_mutex);
#if DT_ALIAS_EXISTS(data_flash)
K_THREAD_STACK_DEFINE(flash_thread_stack, FLASH_THREAD_STACK_SIZE);
struct k_thread flash_thread_data;
k_tid_t flash_thread_id;
void flash_thread(fjalar_t *fjalar, void *p2, void *p3);
#endif

struct padded_buf {
	uint8_t buf[PROTOCOL_BUFFER_LENGTH];
} __attribute__((aligned(4)));

_Static_assert(sizeof(struct padded_buf) % 4 == 0, "padded buffer length is not aligned");

K_MSGQ_DEFINE(uart_msgq, sizeof(struct padded_buf), 32, 4);
K_MSGQ_DEFINE(flash_msgq, sizeof(struct padded_buf), 32, 4);
K_MSGQ_DEFINE(usb_msgq, sizeof(struct padded_buf), 32, 4);
K_MSGQ_DEFINE(lora_msgq, sizeof(struct padded_buf), 5, 4);

void init_communication(fjalar_t *fjalar) {
	terminate_communication = false;
	#if DT_ALIAS_EXISTS(lora)
	lora_thread_id = k_thread_create(
		&lora_thread_data,
		lora_thread_stack,
		K_THREAD_STACK_SIZEOF(lora_thread_stack),
		(k_thread_entry_t) lora_thread,
		fjalar, NULL, NULL,
		LORA_THREAD_PRIORITY, 0, K_NO_WAIT
	);
	k_thread_name_set(lora_thread_id, "lora");
	#endif

	#if DT_ALIAS_EXISTS(data_usb)
	usb_thread_id = k_thread_create(
		&usb_thread_data,
		usb_thread_stack,
		K_THREAD_STACK_SIZEOF(usb_thread_stack),
		(k_thread_entry_t) usb_thread,
		fjalar, NULL, NULL,
		USB_THREAD_PRIORITY, 0, K_NO_WAIT
	);
	k_thread_name_set(usb_thread_id, "data usb");
	#endif

	#if DT_ALIAS_EXISTS(data_flash)
	flash_thread_id = k_thread_create(
		&flash_thread_data,
		flash_thread_stack,
		K_THREAD_STACK_SIZEOF(flash_thread_stack),
		(k_thread_entry_t) flash_thread,
		fjalar, NULL, NULL,
		FLASH_THREAD_PRIORITY, 0, K_NO_WAIT
	);
	k_thread_name_set(flash_thread_id, "data flash");
	#endif

	#if DT_ALIAS_EXISTS(external_uart)
	uart_thread_id = k_thread_create(
		&uart_thread_data,
		uart_thread_stack,
		K_THREAD_STACK_SIZEOF(uart_thread_stack),
		(k_thread_entry_t) uart_thread,
		fjalar, NULL, NULL,
		UART_THREAD_PRIORITY, 0, K_NO_WAIT
	);
	k_thread_name_set(uart_thread_id, "external uart");
	#endif

	sampler_thread_id = k_thread_create(
		&sampler_thread_data,
		sampler_thread_stack,
		K_THREAD_STACK_SIZEOF(sampler_thread_stack),
		(k_thread_entry_t) sampler_thread,
		fjalar, NULL, NULL,
		SAMPLER_THREAD_PRIORITY, 0, K_NO_WAIT
	);
	k_thread_name_set(sampler_thread_id, "sampler");
}

int deinit_communication() {
	terminate_communication = true;
	int e = 0;
	#if DT_ALIAS_EXISTS(lora)
	e |= k_thread_join(&lora_thread_data, K_MSEC(1000));
	#endif

	#if DT_ALIAS_EXISTS(data_usb)
	e |= k_thread_join(&usb_thread_data, K_MSEC(1000));
	#endif

	#if DT_ALIAS_EXISTS(data_flash)
	e |= k_thread_join(&flash_thread_data, K_MSEC(1000));
	#endif

	#if DT_ALIAS_EXISTS(external_uart)
	e |= k_thread_join(&uart_thread_data, K_MSEC(1000));
	#endif

	e |= k_thread_join(&sampler_thread_data, K_MSEC(1000));
	return e;
}

void send_message(fjalar_t *fjalar, fjalar_message_t *msg, enum message_priority prio) {
	struct padded_buf pbuf;
	int size = encode_fjalar_message(msg, pbuf.buf);
	if (size < 0) {
		LOG_ERR("encode_fjalar_message failed");
		return;
	}
	LOG_DBG("sending message w/ size %d", size);
	switch(prio) {
		case MSG_PRIO_LOW:
			if (fjalar->flight_state == STATE_IDLE || fjalar->flight_state == STATE_LANDED) {
				break;
			}
			#if DT_ALIAS_EXISTS(data_flash)
			if (k_msgq_put(&flash_msgq, &pbuf, K_NO_WAIT)) {
				LOG_INF("could not insert into flash msgq");
			}
			#endif
			#if DT_ALIAS_EXISTS(external_uart)
			if (k_msgq_put(&uart_msgq, &pbuf, K_NO_WAIT)) {
				LOG_WRN("could not insert into uart msgq");
			}
			#endif
			#if DT_ALIAS_EXISTS(data_usb)
			if (k_msgq_put(&usb_msgq, &pbuf, K_NO_WAIT)) {
				LOG_INF("could not insert data usb msgq");
			}
			#endif
			break;

		case MSG_PRIO_HIGH:
			#if DT_ALIAS_EXISTS(data_flash)
			if (k_msgq_put(&flash_msgq, &pbuf, K_NO_WAIT)) {
				LOG_INF("could not insert into flash msgq");
			}
			#endif
			#if DT_ALIAS_EXISTS(lora)
			if (k_msgq_put(&lora_msgq, &pbuf, K_NO_WAIT)) {
				LOG_ERR("could not insert into lora msgq");
			}
			#endif
			#if DT_ALIAS_EXISTS(external_uart)
			if (k_msgq_put(&uart_msgq, &pbuf, K_NO_WAIT)) {
				LOG_WRN("could not insert into uart msgq");
			}
			#endif
			#if DT_ALIAS_EXISTS(data_usb)
			if (k_msgq_put(&usb_msgq, &pbuf, K_NO_WAIT)) {
				LOG_INF("could not insert data usb msgq");
			}
			#endif
			break;
	}
}

void send_response(fjalar_t *fjalar, fjalar_message_t *msg, enum com_channels channel) {
	struct padded_buf pbuf;
	if (msg->has_data == false) {
		msg->has_data = true;
		LOG_WRN("msg had has_data false");
	}
	int size = encode_fjalar_message(msg, pbuf.buf);
	LOG_DBG("encoded size %d", size);
	if (size < 0) {
		LOG_ERR("encode_fjalar_message failed");
		return;
	}
	switch (channel) {
		case COM_CHAN_FLASH:
			#if DT_ALIAS_EXISTS(data_flash)
			if (k_msgq_put(&flash_msgq, &pbuf, K_NO_WAIT)) {
				LOG_INF("could not insert into flash msgq");
			}
			#endif
			break;

		case COM_CHAN_LORA:
			#if DT_ALIAS_EXISTS(lora)
			if (k_msgq_put(&lora_msgq, &pbuf, K_NO_WAIT)) {
				LOG_ERR("could not insert into lora msgq");
			}
			#endif
			break;

		case COM_CHAN_EXT_UART:
			#if DT_ALIAS_EXISTS(external_uart)
			if (k_msgq_put(&uart_msgq, &pbuf, K_NO_WAIT)) {
				LOG_WRN("could not insert into uart msgq");
			}
			#endif
			break;

		case COM_CHAN_USB:
			#if DT_ALIAS_EXISTS(data_usb)
			if (k_msgq_put(&usb_msgq, &pbuf, K_NO_WAIT)) {
				LOG_INF("could not insert data usb msgq");
			}
			#endif
			break;
	}
}

void store_message(fjalar_t *fjalar, fjalar_message_t *msg) {
	struct padded_buf pbuf;
	int size = encode_fjalar_message(msg, pbuf.buf);
	if (size < 0) {
		LOG_ERR("encode_fjalar_message failed");
		return;
	}
	LOG_DBG("storing message w/ size %d", size);
	if (k_msgq_put(&flash_msgq, &pbuf, K_NO_WAIT)) {
		LOG_INF("Could not store message");
	}
}

void sampler_thread(fjalar_t *fjalar, void *p2, void *p3) {
	while (true) {
		k_msleep(1000);
		fjalar_message_t msg;
		msg.time = k_uptime_get_32();
		msg.has_data = true;
		msg.data.which_data = FJALAR_DATA_TELEMETRY_PACKET_TAG;
		msg.data.data.telemetry_packet.altitude = fjalar->altitude - fjalar->ground_level;
		msg.data.data.telemetry_packet.az = fjalar->az;
		msg.data.data.telemetry_packet.flight_state = fjalar->flight_state;
		msg.data.data.telemetry_packet.velocity = fjalar->velocity;
		msg.data.data.telemetry_packet.battery = fjalar->battery_voltage;
		msg.data.data.telemetry_packet.latitude = fjalar->latitude;
		msg.data.data.telemetry_packet.longitude = fjalar->longitude;
		msg.data.data.telemetry_packet.flash_address = fjalar->flash_address;
		msg.data.data.telemetry_packet.pyro1_connected = fjalar->pyro1_sense;
		msg.data.data.telemetry_packet.pyro2_connected = fjalar->pyro2_sense;
		msg.data.data.telemetry_packet.pyro3_connected = fjalar->pyro3_sense;
		msg.data.data.telemetry_packet.sudo = fjalar->sudo;
		send_message(fjalar, &msg, MSG_PRIO_HIGH);
	}
}

void read_flash(fjalar_t *fjalar, uint8_t *buf, uint32_t index, uint8_t len) {
	#if DT_ALIAS_EXISTS(data_flash)
	LOG_DBG("Reading flash");
	const struct device *flash_dev = DEVICE_DT_GET(DT_ALIAS(data_flash));
	k_mutex_lock(&flash_mutex, K_FOREVER);
	flash_read(flash_dev, index, buf, len);
	k_mutex_unlock(&flash_mutex);
	#endif
}

void clear_flash(fjalar_t *fjalar) {
	LOG_WRN("Clearing flash");
	#if DT_ALIAS_EXISTS(data_flash)
	const struct device *flash_dev = DEVICE_DT_GET(DT_ALIAS(data_flash));
	k_mutex_lock(&flash_mutex, K_FOREVER);
	flash_erase(flash_dev, 0, fjalar->flash_size);
	fjalar->flash_address = 0;
	k_mutex_unlock(&flash_mutex);
	#endif
}

#if DT_ALIAS_EXISTS(data_flash)
void flash_thread(fjalar_t *fjalar, void *p2, void *p3) {
	const struct device *flash_dev = DEVICE_DT_GET(DT_ALIAS(data_flash));
	if (!device_is_ready(flash_dev)) {
		LOG_ERR("Flash not ready");
		return;
	}
	const uint8_t flash_reset_value = 0xff;
	fjalar->flash_address = 0;
	fjalar->flash_size = DT_PROP(DT_ALIAS(data_flash), size) / 8;
	int chunk_size = 1024;
	int num_cleared_values = 0;
	int chunk_start = 0;
	int ret;
	uint8_t buf[chunk_size];
	k_mutex_lock(&flash_mutex, K_FOREVER);
	while (true) {
		chunk_size = MIN(chunk_size, fjalar->flash_size - fjalar->flash_address);
		if (chunk_size < 1) {
			goto end;
		}
		ret = flash_read(flash_dev, fjalar->flash_address, buf, chunk_size);
		if (ret != 0) {
			LOG_ERR("Flash startup read fail");
			return;
		}
		k_usleep(10);
		chunk_start = fjalar->flash_address;
		fjalar->flash_address = fjalar->flash_address + chunk_size;
		for (int i = 0; i < chunk_size; i++) {
			if (buf[i] == flash_reset_value) {
				num_cleared_values += 1;
			} else {
				num_cleared_values = 0;
			}
			if (num_cleared_values == chunk_size) {
				fjalar->flash_address = chunk_start + i - num_cleared_values + 1;
				LOG_INF("found good address at %d", fjalar->flash_address);
				goto end;
			}
		}

	}
	end:
	k_mutex_unlock(&flash_mutex);
	LOG_WRN("initialized flash index to %d", fjalar->flash_address);
	k_msleep(10);
	while (true) {
		int ret;
		struct padded_buf pbuf;
		ret = k_msgq_get(&flash_msgq, &pbuf, K_FOREVER);
		if (ret == 0) {
			int size = get_encoded_message_length(pbuf.buf);
			k_mutex_lock(&flash_mutex, K_FOREVER);
			if (fjalar->flash_address + size >= fjalar->flash_size) {
				k_mutex_unlock(&flash_mutex);
				continue;
			}
			LOG_INF("wrote to flash address %d", fjalar->flash_address);
			int ret = flash_write(flash_dev, fjalar->flash_address, pbuf.buf, size);
			if (ret) {
				LOG_ERR("Could not write to flash");
			} else {
				fjalar->flash_address += size;
			}
			k_mutex_unlock(&flash_mutex);
		} else {
			LOG_ERR("flash msgq error");
		}
	}
}
#endif

#if DT_ALIAS_EXISTS(lora)
int lora_configure(const struct device *dev, bool transmit) {
	static uint8_t current_mode = -1;
	if (current_mode == transmit) {
		LOG_DBG("Mode already configured");
		return 0;
	}
	struct lora_modem_config config = PROTOCOL_ZEPHYR_LORA_CONFIG;
	config.tx = transmit;
	config.tx_power = 10;
	int ret = lora_config(dev, &config);
	if (ret < 0) {
		LOG_ERR("Could not configure lora %d", ret);
		return ret;
	}
	if (transmit) {
		LOG_DBG("LoRa configured to tx");
	} else {
		LOG_DBG("LoRa configured to rx");
	}
	current_mode = transmit;
	return ret;
}

struct lora_rx {
	uint8_t buf[PROTOCOL_BUFFER_LENGTH];
	uint16_t size;
	int16_t rssi;
	int8_t snr;
} __attribute__((aligned(4)));

K_MSGQ_DEFINE(lora_rx_msgq, sizeof(struct lora_rx), 5, 4);

void lora_cb(const struct device *dev, uint8_t *buf, uint16_t size, int16_t rssi, int8_t snr, void *user) {
	struct lora_rx rx;
	rx.size = MIN(size, PROTOCOL_BUFFER_LENGTH);
	memcpy(rx.buf, buf, rx.size);
	rx.rssi = rssi;
	rx.snr = snr;
	k_msgq_put(&lora_rx_msgq, &rx, K_NO_WAIT);
}

void lora_thread(fjalar_t *fjalar, void* p2, void* p3) {
	const struct device *lora_dev = DEVICE_DT_GET(DT_ALIAS(lora));
	if (!device_is_ready(lora_dev)) {
		LOG_ERR("LoRa is not ready");
		return;
	}
	struct lora_rx rx;
	while (true) {
		int ret;
		struct padded_buf pbuf;
		struct k_poll_event events[2] = {
			K_POLL_EVENT_INITIALIZER(K_POLL_TYPE_MSGQ_DATA_AVAILABLE,
											K_POLL_MODE_NOTIFY_ONLY,
											&lora_msgq),
			K_POLL_EVENT_INITIALIZER(K_POLL_TYPE_MSGQ_DATA_AVAILABLE,
											K_POLL_MODE_NOTIFY_ONLY,
											&lora_rx_msgq),
		};

		ret = lora_configure(lora_dev, LORA_RECEIVE);
		if (ret) {
			LOG_ERR("LoRa rx configure failed");
		} else {
			LOG_DBG("LoRa rxing");
		}
		// TODO: The void user data was recently added, use this to pass data instead of the global variable
		lora_recv_async(lora_dev, lora_cb, NULL);
		// k_poll(&events[1], 2, K_MSEC(10000)); //poll only rx first to not interrupt messages
		k_poll(events, 2, K_FOREVER);

		ret = k_msgq_get(&lora_rx_msgq, &rx, K_NO_WAIT);
		if (ret == 0) {
			events[1].state = K_POLL_STATE_NOT_READY;
			LOG_INF("received LoRa msg");
			struct protocol_state ps;
			reset_protocol_state(&ps);
			handle_fjalar_buf(&ps, fjalar, rx.buf, rx.size, COM_CHAN_LORA);
		}

		ret = k_msgq_get(&lora_msgq, &pbuf, K_NO_WAIT);
		if (ret == 0) {
			events[0].state = K_POLL_STATE_NOT_READY;
			lora_recv_async(lora_dev, NULL, NULL);
			ret = lora_configure(lora_dev, LORA_TRANSMIT);
			if (ret) {
				LOG_ERR("LORA tx configure failed");
			}else {
				LOG_DBG("LoRa txing");
			}
			int size = get_encoded_message_length(pbuf.buf);
			ret = lora_send(lora_dev, pbuf.buf, size);
			if (ret) {
				LOG_ERR("Could not send LoRa message");
			} else {
				LOG_DBG("Sent lora packet with size %d", size);
			}
		}
	}
}
#endif

//posix doens't support async omega lul
// struct generic_async_uart {
// 	uint8_t buf[3][128];
// 	int index;
// 	int used;
// };

// void generic_uart_callback(const struct device *dev, struct uart_event *evt, void *user_data) {
// 	struct generic_async_uart *stuff = (struct generic_async_uart *) user_data;

// 	switch (evt->type) {
// 		case UART_RX_BUF_REQUEST:
// 			if (stuff->used == 3) {
// 				LOG_ERR("UART driver buffer overflow");
// 				return;
// 			}
// 			uart_rx_buf_rsp(dev, stuff->buf[stuff->index], sizeof(stuff->buf[0]));
// 			stuff->index = (stuff->index + 1) % (sizeof(stuff->buf) / sizeof(stuff->buf[0]));
// 			stuff->used++;
// 			break;

// 		case UART_RX_BUF_RELEASED:
// 			stuff->used--;
// 			break;
// 		default:
// 			break;
// 	}
// }

#if DT_ALIAS_EXISTS(external_uart)
void uart_thread(fjalar_t *fjalar, void *p2, void *p3) {
	const struct device *uart_dev = DEVICE_DT_GET(DT_ALIAS(external_uart));
	if (!device_is_ready(uart_dev)) {
		LOG_ERR("External uart not ready");
		return;
	}
	struct protocol_state ps;
	reset_protocol_state(&ps);
	while(1) {
		// rx
		int ret;
		uint8_t byte;
		ret = uart_poll_in(uart_dev, &byte);
		if (ret == 0) {
			handle_fjalar_buf(&ps, fjalar, &byte, 1, COM_CHAN_EXT_UART);
			continue;
		} else
		if (ret != -1) {
			LOG_ERR("UART read error");
		}

		// tx
		struct padded_buf pbuf;
		ret = k_msgq_get(&uart_msgq, &pbuf, K_NO_WAIT);
		if (ret == 0) {
			int size = get_encoded_message_length(pbuf.buf);
			for (int i = 0; i < size; i++) {
				uart_poll_out(uart_dev, pbuf.buf[i]);
			}
		}
		k_msleep(1);
	}
}
#endif

#if DT_ALIAS_EXISTS(data_usb)
void usb_thread(fjalar_t *fjalar, void *p2, void *p3) {
	const struct device *usb_dev = DEVICE_DT_GET(DT_ALIAS(data_usb));
	if (!device_is_ready(usb_dev)) {
		LOG_ERR("data usb not ready");
		return;
	}
	struct protocol_state ps;
	reset_protocol_state(&ps);
	while(1) {
		// rx
		int ret;
		uint8_t byte;
		ret = uart_poll_in(usb_dev, &byte);
		if (ret == 0) {
			handle_fjalar_buf(&ps, fjalar, &byte, 1, COM_CHAN_USB);
			continue;
		} else
		if (ret != -1) {
			LOG_ERR("USB read error");
		}

		// tx
		struct padded_buf pbuf;
		ret = k_msgq_get(&usb_msgq, &pbuf, K_NO_WAIT);
		if (ret == 0) {
			int size = get_encoded_message_length(pbuf.buf);
			for (int i = 0; i < size; i++) {
				uart_poll_out(usb_dev, pbuf.buf[i]);
			}
		}
		k_msleep(1);
	}
}
#endif
```

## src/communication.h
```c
#pragma once

#include <zephyr/kernel.h>

#include "fjalar.h"
#include "protocol.h"

enum message_priority {
	MSG_PRIO_LOW,
	MSG_PRIO_MEDIUM,
	MSG_PRIO_HIGH,
	MSG_PRIO_MAX,
};

void init_communication(fjalar_t *fjalar);
void send_message(fjalar_t *fjalar, fjalar_message_t *msg, enum message_priority prio);
void send_response(fjalar_t *fjalar, fjalar_message_t *msg, enum com_channels channel);

void clear_flash(fjalar_t *fjalar);
void read_flash(fjalar_t *fjalar, uint8_t *buf, uint32_t index, uint8_t len);
```

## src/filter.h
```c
#pragma once

#include <zsl/matrices.h>

typedef struct {
    float *values;
    int size;
    int index;
} window_t;
void window_init(window_t *window, float *values, int size);
void window_insert(window_t * filter, float value);
float window_get_median(window_t * filter);
void window_get_min_max(window_t * filter, float *min, float *max);
float window_get_newest(window_t *filter);
float window_get_oldest(window_t *filter);

typedef struct altitude_filter {
    zsl_real_t P_data[9];
    struct zsl_mtx P;
    zsl_real_t X_data[3];
    struct zsl_mtx X;
    zsl_real_t Q_data[9];
    struct zsl_mtx Q;
    zsl_real_t K_data[9];
    struct zsl_mtx K;
    zsl_real_t R_data[9];
    struct zsl_mtx R;
    uint32_t previous_update;
    bool seeded;
} altitude_filter_t;

void altitude_filter_init(altitude_filter_t *kf);

void altitude_filter_update(altitude_filter_t *kf, float value, uint32_t time);
void altitude_filter_update_accel(altitude_filter_t *kf, float value, float accel, uint32_t time);

float altitude_filter_get_altitude(altitude_filter_t *kf);

float altitude_filter_get_velocity(altitude_filter_t *kf);
```

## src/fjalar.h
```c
#pragma once
#define DT_ALIAS_EXISTS(alias) DT_NODE_EXISTS(DT_ALIAS(alias))

enum fjalar_flight_state {
    STATE_IDLE,
    STATE_LAUNCHPAD,
    STATE_BOOST,
    STATE_COAST,
    STATE_FREE_FALL,
    STATE_DROGUE_DESCENT,
    STATE_MAIN_DESCENT,
    STATE_LANDED,
};

enum fjalar_flight_event {
    EVENT_LAUNCH,
    EVENT_BURNOUT,
    EVENT_APOGEE,
    EVENT_PRIMARY_DEPLOY,
    EVENT_SECONDARY_DEPLOY,
    EVENT_LANDED
};

typedef struct {
    enum fjalar_flight_state flight_state;
    float altitude;
    float ground_level;
    float velocity;
    float ax;
    float ay;
    float az;
    bool drogue_deployed;
    bool main_deployed;
    uint32_t liftoff_at;
    uint32_t apogee_at;
    bool sudo;
    uint32_t flash_address;
    uint32_t flash_size;
    float battery_voltage;
    float latitude;
    float longitude;
    bool pyro1_sense;
    bool pyro2_sense;
    bool pyro3_sense;
} fjalar_t;

extern fjalar_t fjalar_god;
```

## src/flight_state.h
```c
#pragma once

#include "fjalar.h"
void init_flight_state(fjalar_t *fjalar);
```
